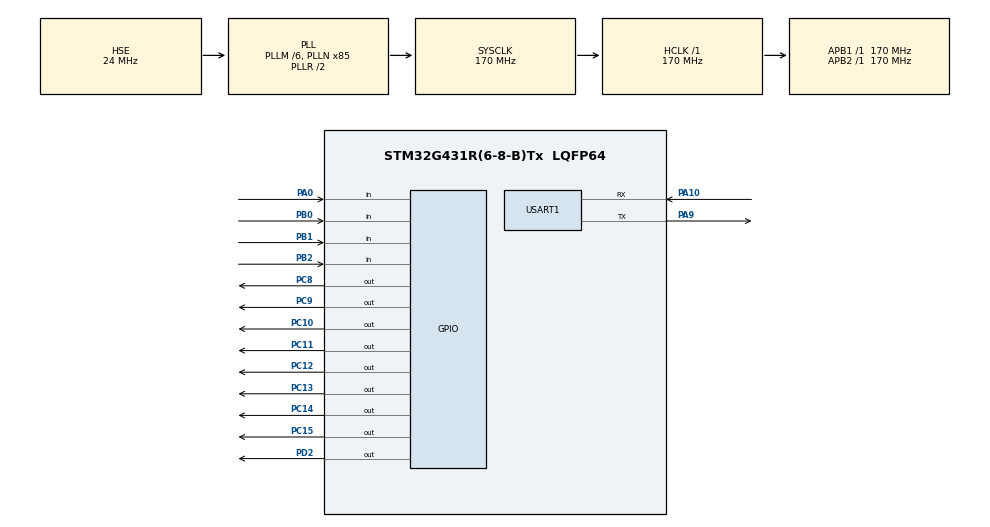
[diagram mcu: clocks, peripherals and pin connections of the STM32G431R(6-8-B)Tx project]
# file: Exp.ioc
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Mcu.Family=STM32G4
Mcu.Name=STM32G431R(6-8-B)Tx
Mcu.Package=LQFP64
NVIC.PriorityGroup=NVIC_PRIORITYGROUP_4
NVIC.USART1_IRQn=true\:0\:0\:false\:false\:true\:true\:true\:true
PA0.Signal=GPIO_Input
PA10.Mode=Asynchronous
PA10.Signal=USART1_RX
PA13.Mode=Serial_Wire
PA13.Signal=SYS_JTMS-SWDIO
PA14.Mode=Serial_Wire
PA14.Signal=SYS_JTCK-SWCLK
PA9.Mode=Asynchronous
PA9.Signal=USART1_TX
PB0.Signal=GPIO_Input
PB1.Signal=GPIO_Input
PB2.Signal=GPIO_Input
PC10.PinState=GPIO_PIN_SET
PC10.Signal=GPIO_Output
PC11.PinState=GPIO_PIN_SET
PC11.Signal=GPIO_Output
PC12.PinState=GPIO_PIN_SET
PC12.Signal=GPIO_Output
PC13.PinState=GPIO_PIN_SET
PC13.Signal=GPIO_Output
PC14-OSC32_IN.PinState=GPIO_PIN_SET
PC14-OSC32_IN.Signal=GPIO_Output
PC15-OSC32_OUT.PinState=GPIO_PIN_SET
PC15-OSC32_OUT.Signal=GPIO_Output
PC8.PinState=GPIO_PIN_SET
PC8.Signal=GPIO_Output
PC9.PinState=GPIO_PIN_SET
PC9.Signal=GPIO_Output
PD2.PinState=GPIO_PIN_SET
PD2.Signal=GPIO_Output
PF0-OSC_IN.Mode=HSE-External-Oscillator
PF0-OSC_IN.Signal=RCC_OSC_IN
PF1-OSC_OUT.Mode=HSE-External-Oscillator
PF1-OSC_OUT.Signal=RCC_OSC_OUT
ProjectManager.HeapSize=0x200
ProjectManager.StackSize=0x400
ProjectManager.TargetToolchain=MDK-ARM V5.32
RCC.ADC12Freq_Value=170000000
RCC.AHBFreq_Value=170000000
RCC.APB1Freq_Value=170000000
RCC.APB1TimFreq_Value=170000000
RCC.APB2Freq_Value=170000000
RCC.APB2TimFreq_Value=170000000
RCC.CortexFreq_Value=170000000
RCC.EXTERNAL_CLOCK_VALUE=12288000
RCC.HCLKFreq_Value=170000000
RCC.HSE_VALUE=24000000
RCC.HSI48_VALUE=48000000
RCC.HSI_VALUE=16000000
RCC.LSE_VALUE=32768
RCC.PLLM=RCC_PLLM_DIV6
RCC.PLLN=85
RCC.PLLSourceVirtual=RCC_PLLSOURCE_HSE
RCC.SYSCLKFreq_VALUE=170000000
RCC.SYSCLKSource=RCC_SYSCLKSOURCE_PLLCLK
RCC.USBFreq_Value=170000000
RCC.VCOOutputFreq_Value=340000000
USART1.VirtualMode-Asynchronous=VM_ASYNC
VP_SYS_VS_DBSignals.Mode=DisableDeadBatterySignals
board=custom

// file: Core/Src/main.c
/* USER CODE BEGIN Header */
/**
  ******************************************************************************
  * @file           : main.c
  * @brief          : Main program body
  ******************************************************************************
  * @attention
  *
  * Copyright (c) 2026 STMicroelectronics.
  * All rights reserved.
  *
  * This software is licensed under terms that can be found in the LICENSE file
  * in the root directory of this software component.
  * If no LICENSE file comes with this software, it is provided AS-IS.
  *
  ******************************************************************************
  */
/* USER CODE END Header */
#include "main.h"
#include "usart.h"
#include "gpio.h"

/* USER CODE BEGIN PV */
unsigned char bucRxBuff[2];
unsigned char ucLedFlag = 0;
unsigned char ucNum = 0;
/* USER CODE END PV */

void SystemClock_Config(void);
/* USER CODE BEGIN PFP */
void LED_Stream(void);
void LED_Num(void);
/* USER CODE END PFP */

int main(void)
{

  /* MCU Configuration--------------------------------------------------------*/

  /* Reset of all peripherals, Initializes the Flash interface and the Systick. */
  HAL_Init();

  /* Configure the system clock */
  SystemClock_Config();

  /* Initialize all configured peripherals */
  MX_GPIO_Init();
  MX_USART1_UART_Init();
  /* USER CODE BEGIN 2 */
	HAL_UART_Receive_IT(&huart1, bucRxBuff, 1);
  /* USER CODE END 2 */

  /* Infinite loop */
  /* USER CODE BEGIN WHILE */
  while (1)
  {
		if (ucLedFlag == 1)		LED_Stream();
		if (ucLedFlag == 2)		LED_Num();
    /* USER CODE END WHILE */

  }
}

void SystemClock_Config(void)
{
  RCC_OscInitTypeDef RCC_OscInitStruct = {0};
  RCC_ClkInitTypeDef RCC_ClkInitStruct = {0};

  /** Configure the main internal regulator output voltage
  */
  HAL_PWREx_ControlVoltageScaling(PWR_REGULATOR_VOLTAGE_SCALE1_BOOST);

  /** Initializes the RCC Oscillators according to the specified parameters
  * in the RCC_OscInitTypeDef structure.
  */
  RCC_OscInitStruct.OscillatorType = RCC_OSCILLATORTYPE_HSE;
  RCC_OscInitStruct.HSEState = RCC_HSE_ON;
  RCC_OscInitStruct.PLL.PLLState = RCC_PLL_ON;
  RCC_OscInitStruct.PLL.PLLSource = RCC_PLLSOURCE_HSE;
  RCC_OscInitStruct.PLL.PLLM = RCC_PLLM_DIV6;
  RCC_OscInitStruct.PLL.PLLN = 85;
  RCC_OscInitStruct.PLL.PLLP = RCC_PLLP_DIV2;
  RCC_OscInitStruct.PLL.PLLQ = RCC_PLLQ_DIV2;
  RCC_OscInitStruct.PLL.PLLR = RCC_PLLR_DIV2;
  if (HAL_RCC_OscConfig(&RCC_OscInitStruct) != HAL_OK)
  {
    Error_Handler();
  }

  /** Initializes the CPU, AHB and APB buses clocks
  */
  RCC_ClkInitStruct.ClockType = RCC_CLOCKTYPE_HCLK|RCC_CLOCKTYPE_SYSCLK
                              |RCC_CLOCKTYPE_PCLK1|RCC_CLOCKTYPE_PCLK2;
  RCC_ClkInitStruct.SYSCLKSource = RCC_SYSCLKSOURCE_PLLCLK;
  RCC_ClkInitStruct.AHBCLKDivider = RCC_SYSCLK_DIV1;
  RCC_ClkInitStruct.APB1CLKDivider = RCC_HCLK_DIV1;
  RCC_ClkInitStruct.APB2CLKDivider = RCC_HCLK_DIV1;

  if (HAL_RCC_ClockConfig(&RCC_ClkInitStruct, FLASH_LATENCY_4) != HAL_OK)
  {
    Error_Handler();
  }
}

/* USER CODE BEGIN 4 */
void LED_Stream(void)
{
		static unsigned char ucTemp = 8;
		static unsigned char toggle_flag=1;
		HAL_GPIO_WritePin(GPIOC, 0xFF00, GPIO_PIN_SET);
		HAL_GPIO_WritePin(GPIOC, 1<<ucTemp, GPIO_PIN_RESET);
		HAL_Delay(500);
		if (toggle_flag)
		{
			if (ucTemp < 15)
				ucTemp++;
			else
				toggle_flag = 0;
		}
		else
		{
			if (ucTemp > 8)
				ucTemp--;
			else
				toggle_flag = 1;
		}
}

void LED_Num(void)
{
		HAL_GPIO_WritePin(GPIOC, 0xFF00, GPIO_PIN_SET);
		HAL_GPIO_WritePin(GPIOC, 1<<(ucNum+7), GPIO_PIN_RESET);
}
/* USER CODE END 4 */

void Error_Handler(void)
{
  __disable_irq();
  while (1)
  {
  }
}
